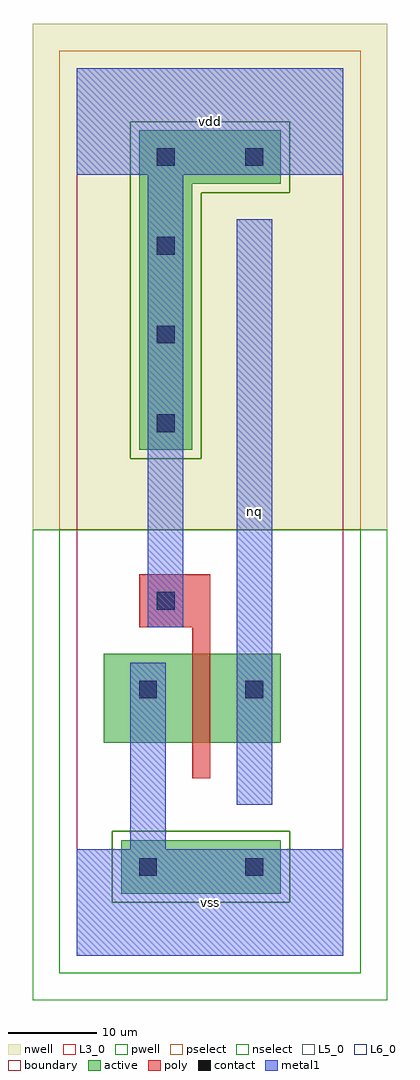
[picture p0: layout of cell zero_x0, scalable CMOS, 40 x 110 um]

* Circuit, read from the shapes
.subckt zero_x0 nq vdd vss
M1 nq vdd vss vss nfet w=10u l=2u
.ends

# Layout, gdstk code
import gdstk
lib = gdstk.Library(unit=1e-6, precision=1e-09)
def R(c, l, rs):  # rectangles x0, y0, x1, y1
    for r in rs: c.add(gdstk.rectangle(r[:2], r[2:], *l))
def A(c, l, x, y, w, h, nx, ny, dx, dy):  # array of equal rectangles
    R(c, l, [(x+i*dx, y+j*dy, x+i*dx+w, y+j*dy+h) for i in range(nx) for j in range(ny)])
L3_0 = (3, 0)
L5_0 = (5, 0)
L6_0 = (6, 0)
contact = (25, 0)
pwell = (41, 0)
nwell = (42, 0)
active = (43, 0)
pselect = (44, 0)
nselect = (45, 0)
poly = (46, 0)
metal1 = (49, 0)
boundary = (63, 0)

zero_x0 = lib.new_cell('zero_x0')
R(zero_x0, L3_0, [(3,24,23,34)])
R(zero_x0, L5_0, [(7,57,13,87), (7,87,23,93)])
R(zero_x0, L6_0, [(5,7,23,13)])
A(zero_x0, contact, 9, 59, 2, 2, 1, 4, 0, 10)
R(zero_x0, contact, [(7,9,9,11), (19,9,21,11), (7,29,9,31), (19,29,21,31), (9,39,11,41), (19,89,21,91)])
R(zero_x0, pwell, [(-5,-5,35,48)])
R(zero_x0, nwell, [(-5,48,35,105)])
R(zero_x0, active, [(5,7,23,13), (3,24,23,34), (7,57,13,87), (7,87,23,93)])
R(zero_x0, pselect, [(4,6,24,14), (-2,48,32,56), (-2,56,6,94), (14,56,32,86), (24,86,32,94), (-2,94,32,102)])
R(zero_x0, nselect, [(-2,-2,32,6), (-2,6,4,14), (24,6,32,14), (-2,14,32,48), (6,56,14,86), (6,86,24,94)])
R(zero_x0, poly, [(13,20,15,37), (7,37,15,43)])
R(zero_x0, metal1, [(0,0,30,12), (6,12,10,33), (18,17,22,83), (8,37,12,88), (0,88,30,100)])
R(zero_x0, boundary, [(0,0,30,100)])
zero_x0.add(gdstk.Label('vss', (15,6), layer=49, texttype=0))
zero_x0.add(gdstk.Label('vdd', (15,94), layer=49, texttype=0))
zero_x0.add(gdstk.Label('nq', (20,50), layer=49, texttype=0))

lib.write_gds('zero_x0.gds')
